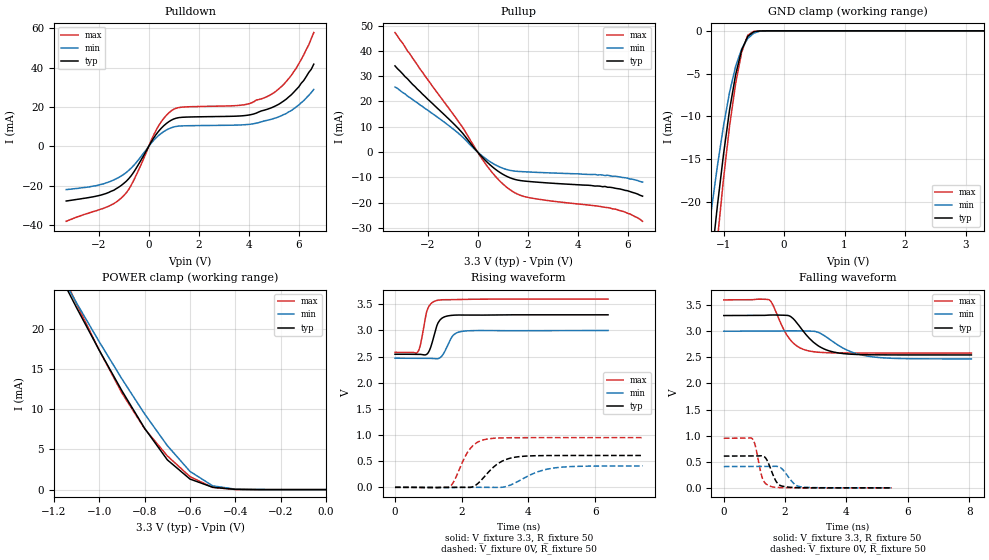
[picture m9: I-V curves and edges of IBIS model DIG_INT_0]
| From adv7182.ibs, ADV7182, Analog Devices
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[Model] DIG_INT_0
Model_type I/O
Vinl = 1.41V
Vinh = 1.64V
C_comp 1.962891pF 1.887451pF 2.011325pF
Vmeas = 1.50V
Cref = 10pF
[Model Spec]
| Subparameter   typ   min   max
| Thresholds
Vinh   1.51V   1.41V   1.64V
Vinl   1.51V   1.41V   1.64V
| Overshoot
S_overshoot_high   3.60V   3.30V   3.90V
S_overshoot_low   -0.30V   NA   NA
| Timing spec related
Vmeas   1.50V   1.45V   1.55V
Cref   10pF   NA   NA
| variable   typ   min   max
[Temperature Range]   55   125   -20
[Voltage Range]   3.30V   3.00V   3.60V
[Pulldown Reference]   0V   0V   0V
[Pullup Reference]   3.30V   3.00V   3.60V
[GND Clamp Reference]   0V   0V   0V
[POWER Clamp Reference]  3.30V   3.00V   3.60V
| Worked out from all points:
|   slope of the pulldown table from 0 to 0.495 V, typ, clamps not added: 54.3 ohm
|   slope of the pullup table from 0 to 0.495 V, typ, clamps not added: 98.2 ohm
|   GND clamp passes 1 mA (typ) near -0.62 V on its own axis
|   POWER clamp passes 1 mA (typ) near -0.57 V on its own axis
|   falling waveform, V_fixture 3.3, R_fixture 50: 20-80 % time 749ps typ, 964ps min, 560ps max; typ from 3.3 V to 2.54 V
|   falling waveform, V_fixture 0V, R_fixture 50: 20-80 % time 264ps typ, 328ps min, 208ps max; typ from 0.609 V to 0 V
|   rising waveform, V_fixture 3.3, R_fixture 50: 20-80 % time 214ps typ, 253ps min, 187ps max; typ from 2.54 V to 3.3 V
|   rising waveform, V_fixture 0V, R_fixture 50: 20-80 % time 608ps typ, 836ps min, 455ps max; typ from 0 V to 0.609 V
[Pulldown]
| Note: Vtable = Vpin
| Voltage   I(typ)   I(min)   I(max)
-3.3V     -27.75mA   -21.95mA   -38.04mA
-1.9V     -24.7mA    -19.31mA   -31.83mA
-1V       -18.83mA   -14.25mA   -25.05mA
-600mV    -13.11mA   -9.697mA   -17.25mA
300mV     6.11mA     4.397mA    8.316mA
900mV     13.27mA    9.428mA    18.01mA
1.3V      14.71mA    10.36mA    19.86mA
3.8V      15.57mA    10.94mA    21.07mA
4.8V      19.07mA    13.4mA     25.67mA
5.7V      26.15mA    18.14mA    35.97mA
6.2V      33.45mA    23.23mA    46.46mA
6.6V      41.71mA    28.89mA    57.75mA
[Pullup]
| Note: Vtable = VCC - Vpin
| Voltage   I(typ)   I(min)   I(max)
-3.3V     34.04mA    25.68mA    47.21mA
-2.1V     21.96mA    17.2mA     30.04mA
-1V       11.6mA     9.284mA    15.3mA
-600mV    7.453mA    5.925mA    9.76mA
300mV     -3.216mA   -2.458mA   -4.43mA
800mV     -7.471mA   -5.541mA   -10.56mA
1.2V      -9.797mA   -7.039mA   -14.22mA
1.6V      -11.12mA   -7.677mA   -16.68mA
2V        -11.63mA   -7.905mA   -17.94mA
5.5V      -14.35mA   -9.572mA   -22.59mA
6.1V      -15.69mA   -10.72mA   -24.54mA
6.6V      -17.49mA   -11.94mA   -27.43mA
[GND Clamp]
| Note: Vtable = Vpin
| Voltage   I(typ)   I(min)   I(max)
-3.3V     -214.5mA   -182.2mA   -244.6mA
-1.3V     -33.84mA   -26.51mA   -40.28mA
-1.2V     -26.91mA   -20.92mA   -32.1mA
-1.1V     -20.39mA   -15.76mA   -24.39mA
-1V       -14.44mA   -11.11mA   -17.3mA
-900mV    -9.244mA   -7.177mA   -11.14mA
-800mV    -5.128mA   -4.155mA   -6.174mA
-700mV    -2.24mA    -2.11mA    -2.495mA
-600mV    -645.2uA   -895.4uA   -515.6uA
-500mV    -104.8uA   -269.5uA   -54.8uA
-300mV    -891.4nA   -3.657uA   -149.6nA
3.3V      397pA      5.316uA    62.5pA
[Power Clamp]
| Note: Vtable = VCC - Vpin
| Voltage   I(typ)   I(min)   I(max)
-3.3V     180.3mA    166.5mA    204.1mA
-1.2V     28.12mA    28.24mA    29.18mA
-1.1V     22.63mA    23.22mA    23.11mA
-1V       17.33mA    18.39mA    17.33mA
-900mV    12.29mA    13.77mA    12.02mA
-800mV    7.625mA    9.419mA    7.573mA
-700mV    3.706mA    5.475mA    4.198mA
-600mV    1.312mA    2.262mA    1.61mA
-500mV    291.1uA    467.7uA    271.9uA
-400mV    28.55uA    52.53uA    13.9uA
0V        397pA      2.73nA     80.76pA
[Ramp]
| Variable   typ   min   max
dV/dt_r   0.37V/608.1902ps   0.25V/836.209ps   0.57V/454.4781ps
dV/dt_f   0.45V/749.0469ps   0.26V/893.0709ps   0.69V/593.6707ps
R_load =  50
[Falling Waveform]
V_fixture =  3.3
R_fixture =  50
V_fixture_max =  3.6
V_fixture_min =  3
| R_dut = 0.23Ohm
| L_dut = 6.2nH
| C_dut = 1.05pF
| Time   V(typ)   V(min)   V(max)
0s        3.3V       3V         3.6V
1.481ns   3.309V     3V         3.601V
2.154ns   3.289V     3.008V     2.845V
2.403ns   3.145V     3.007V     2.708V
2.786ns   2.866V     3.003V     2.62V
3.09ns    2.716V     2.975V     2.597V
3.441ns   2.622V     2.849V     2.587V
4.014ns   2.565V     2.64V      2.583V
4.644ns   2.55V      2.526V     2.582V
8.074ns   2.545V     2.47V      2.582V
[Falling Waveform]
V_fixture = 0V
R_fixture =  50
| R_dut = 0.23Ohm
| L_dut = 6.2nH
| C_dut = 1.05pF
| Time   V(typ)   V(min)   V(max)
0s        608.7mV    408.3mV    950mV
933.2ps   608.4mV    408.4mV    939.5mV
1.024ns   608.8mV    408.4mV    816.2mV
1.269ns   610.8mV    408.1mV    166.8mV
1.402ns   537.6mV    408.3mV    64.61mV
1.561ns   313.9mV    411mV      22.39mV
1.82ns    52.45mV    397.1mV    5.351mV
2.274ns   6.769mV    88.69mV    1.112mV
2.5ns     3.176mV    20.7mV     540.1uV
5.481ns   4.372uV    41.86uV    2.569uV
[Rising Waveform]
V_fixture =  3.3
R_fixture =  50
V_fixture_max =  3.6
V_fixture_min =  3
| R_dut = 0.23Ohm
| L_dut = 6.2nH
| C_dut = 1.05pF
| Time   V(typ)   V(min)   V(max)
0s        2.545V     2.47V      2.582V
684.2ps   2.546V     2.47V      2.59V
764.4ps   2.544V     2.47V      2.733V
971.5ps   2.556V     2.47V      3.401V
1.075ns   2.689V     2.467V     3.512V
1.25ns    3.084V     2.457V     3.574V
1.468ns   3.257V     2.572V     3.589V
1.734ns   3.292V     2.901V     3.59V
2.001ns   3.296V     2.983V     3.594V
6.384ns   3.3V       3V         3.6V
[Rising Waveform]
| R_dut = 0.23Ohm
| L_dut = 6.2nH
| C_dut = 1.05pF
V_fixture = 0V
R_fixture =  50
| R_dut = 0.23Ohm
| L_dut = 6.2nH
| C_dut = 1.05pF
| Time   V(typ)   V(min)   V(max)
0s        48.13uV    51.28uV    23.83uV
1.621ns   239.1uV    -5.39mV    3.57mV
1.764ns   846.7uV    -5.555mV   111.8mV
2.254ns   -1.894mV   252.3uV    741.4mV
2.736ns   244.5mV    -565.9uV   920.7mV
3.152ns   480.3mV    -1.465mV   944.8mV
3.673ns   583.3mV    108.4mV    949.4mV
4.262ns   605.1mV    293.1mV    950mV
4.81ns    608.2mV    373.7mV    950mV
7.419ns   608.7mV    408.3mV    950.1mV
